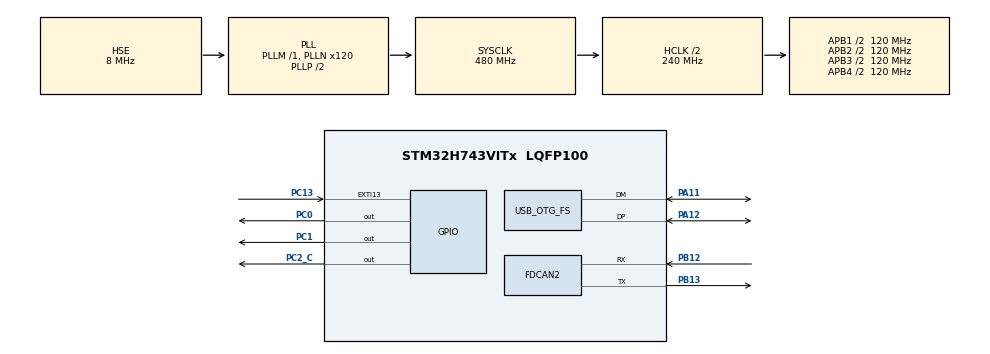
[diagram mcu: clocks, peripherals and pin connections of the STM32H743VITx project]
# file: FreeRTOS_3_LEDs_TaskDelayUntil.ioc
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FDCAN2.CalculateBaudRateNominal=800000
FDCAN2.CalculateTimeBitNominal=1250
FDCAN2.CalculateTimeQuantumNominal=250.0
Mcu.Family=STM32H7
Mcu.Name=STM32H743VITx
Mcu.Package=LQFP100
NVIC.EXTI15_10_IRQn=true\:5\:0\:true\:false\:true\:true\:true\:true
NVIC.FDCAN2_IT0_IRQn=true\:0\:0\:false\:false\:true\:true\:true\:true
NVIC.FDCAN2_IT1_IRQn=true\:0\:0\:false\:false\:true\:true\:true\:true
NVIC.PriorityGroup=NVIC_PRIORITYGROUP_4
NVIC.TIM6_DAC_IRQn=true\:15\:0\:false\:false\:true\:false\:true\:true
NVIC.TimeBase=TIM6_DAC_IRQn
NVIC.TimeBaseIP=TIM6
PA11.Mode=Host_Only
PA11.Signal=USB_OTG_FS_DM
PA12.Mode=Host_Only
PA12.Signal=USB_OTG_FS_DP
PA13\ (JTMS/SWDIO).Mode=Trace_Asynchronous_SW
PA13\ (JTMS/SWDIO).Signal=DEBUG_JTMS-SWDIO
PA14\ (JTCK/SWCLK).Mode=Trace_Asynchronous_SW
PA14\ (JTCK/SWCLK).Signal=DEBUG_JTCK-SWCLK
PB12.Mode=FDCAN_Activate
PB12.Signal=FDCAN2_RX
PB13.Mode=FDCAN_Activate
PB13.Signal=FDCAN2_TX
PB3\ (JTDO/TRACESWO).Mode=Trace_Asynchronous_SW
PB3\ (JTDO/TRACESWO).Signal=DEBUG_JTDO-SWO
PC0.Signal=GPIO_Output
PC1.Signal=GPIO_Output
PC13.GPIO_ModeDefaultEXTI=GPIO_MODE_IT_RISING
PC13.GPIO_PuPd=GPIO_NOPULL
PC13.Signal=GPXTI13
PC2_C.Signal=GPIO_Output
PH0-OSC_IN\ (PH0).Mode=HSE-External-Oscillator
PH0-OSC_IN\ (PH0).Signal=RCC_OSC_IN
PH1-OSC_OUT\ (PH1).Mode=HSE-External-Oscillator
PH1-OSC_OUT\ (PH1).Signal=RCC_OSC_OUT
ProjectManager.HeapSize=0x200
ProjectManager.StackSize=0x400
ProjectManager.TargetToolchain=STM32CubeIDE
RCC.ADCFreq_Value=16125000
RCC.APB1Freq_Value=120000000
RCC.APB2Freq_Value=120000000
RCC.APB3Freq_Value=120000000
RCC.APB4Freq_Value=120000000
RCC.CortexFreq_Value=480000000
RCC.D1PPRE=RCC_APB3_DIV2
RCC.D2PPRE1=RCC_APB1_DIV2
RCC.D2PPRE2=RCC_APB2_DIV2
RCC.D3PPRE=RCC_APB4_DIV2
RCC.DIVM1=1
RCC.DIVN1=120
RCC.DIVQ1=15
RCC.HCLKFreq_Value=240000000
RCC.HPRE=RCC_HCLK_DIV2
RCC.HSE_VALUE=8000000
RCC.PLL1_VCI_Range-AdvancedSettings=RCC_PLL1VCIRANGE_0
RCC.PLL2FRACN=0
RCC.PLL2_VCI_Range-AdvancedSettings=RCC_PLL2VCIRANGE_0
RCC.PLL2_VCO_SEL-AdvancedSettings=RCC_PLL2VCOMEDIUM
RCC.PLL3FRACN=0
RCC.PLL3_VCI_Range-AdvancedSettings=RCC_PLL3VCIRANGE_0
RCC.PLL3_VCO_SEL-AdvancedSettings=RCC_PLL3VCOMEDIUM
RCC.PLLFRACN=0
RCC.PLLSourceVirtual=RCC_PLLSOURCE_HSE
RCC.SYSCLKFreq_VALUE=480000000
RCC.SYSCLKSource=RCC_SYSCLKSOURCE_PLLCLK
RCC.USBFreq_Value=64000000
USB_OTG_FS.VirtualMode=Host_Only
USB_OTG_FS.phy_itface=HCD_PHY_EMBEDDED
VP_SYS_VS_tim6.Mode=TIM6
board=custom

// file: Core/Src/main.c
/* USER CODE BEGIN Header */
/**
  ******************************************************************************
  * @file           : main.c
  * @brief          : Main program body
  ******************************************************************************
  * @attention
  *
  * Copyright (c) 2021 STMicroelectronics.
  * All rights reserved.
  *
  * This software is licensed under terms that can be found in the LICENSE file
  * in the root directory of this software component.
  * If no LICENSE file comes with this software, it is provided AS-IS.
  *
  ******************************************************************************
  */
/* USER CODE END Header */
#include "main.h"

FDCAN_HandleTypeDef hfdcan2;

HCD_HandleTypeDef hhcd_USB_OTG_FS;

void SystemClock_Config(void);
static void MX_GPIO_Init(void);
static void MX_FDCAN2_Init(void);
static void MX_USB_OTG_FS_HCD_Init(void);
/* USER CODE BEGIN PFP */
extern void SEGGER_UART_init(U32 baud);
static void Task_GreenLED_Handler(void* parameters);
static void Task_RedLED_Handler(void* parameters);
static void Task_BlueLED_Handler(void* parameters);
/* USER CODE END PFP */

/* USER CODE BEGIN 0 */
char *user_data = "Hello world\r\n";
/* USER CODE END 0 */

int main(void)
{
  /* USER CODE BEGIN 1 */
	TaskHandle_t Task_GreenLED_Handle;
	TaskHandle_t Task_RedLED_Handle;
	TaskHandle_t Task_BlueLED_Handle;

	BaseType_t TaskStatus;

  /* USER CODE END 1 */

  /* MCU Configuration--------------------------------------------------------*/

  /* Reset of all peripherals, Initializes the Flash interface and the Systick. */
  HAL_Init();

  /* Configure the system clock */
  SystemClock_Config();

  /* Initialize all configured peripherals */
  MX_GPIO_Init();
  MX_FDCAN2_Init();
  MX_USB_OTG_FS_HCD_Init();
  /* USER CODE BEGIN 2 */
//	user_data = "Start of program\r\n";
//	HAL_UART_Transmit(&huart2,(uint8_t*)user_data,strlen(user_data), HAL_MAX_DELAY);

	// Enable CCYCCNT Counter
	DWT->CTRL |= (1 << 0);

	// Used for SEGGER UART
	SEGGER_UART_init(500000);

	//Starting SEGGER SYSVIEW
	  SEGGER_SYSVIEW_Conf();
	  //SEGGER_SYSVIEW_Start();

	  TaskStatus = xTaskCreate(Task_GreenLED_Handler, "GreenLED", 100, "Green LED TASK", 1, &Task_GreenLED_Handle);
	  configASSERT(TaskStatus == pdPASS);

	  TaskStatus = xTaskCreate(Task_RedLED_Handler, "RedLED", 100, "Red LED TASK", 1, &Task_RedLED_Handle);
	  configASSERT(TaskStatus == pdPASS);

	  TaskStatus = xTaskCreate(Task_BlueLED_Handler, "BlueLED", 100, "Blue LED TASK", 1, &Task_BlueLED_Handle);
	  configASSERT(TaskStatus == pdPASS);

	  // Start FreeRTOS scheduler
	  vTaskStartScheduler();

//		user_data = "Scheduler called \r\n";
//		HAL_UART_Transmit(&huart2,(uint8_t*)user_data,strlen(user_data), HAL_MAX_DELAY);

  /* USER CODE END 2 */

  /* Infinite loop */
  while (1)
  {

  }
}

void SystemClock_Config(void)
{
  RCC_OscInitTypeDef RCC_OscInitStruct = {0};
  RCC_ClkInitTypeDef RCC_ClkInitStruct = {0};

  /** Supply configuration update enable
  */
  HAL_PWREx_ConfigSupply(PWR_LDO_SUPPLY);

  /** Configure the main internal regulator output voltage
  */
  __HAL_PWR_VOLTAGESCALING_CONFIG(PWR_REGULATOR_VOLTAGE_SCALE1);

  while(!__HAL_PWR_GET_FLAG(PWR_FLAG_VOSRDY)) {}

  __HAL_RCC_SYSCFG_CLK_ENABLE();
  __HAL_PWR_VOLTAGESCALING_CONFIG(PWR_REGULATOR_VOLTAGE_SCALE0);

  while(!__HAL_PWR_GET_FLAG(PWR_FLAG_VOSRDY)) {}

  /** Initializes the RCC Oscillators according to the specified parameters
  * in the RCC_OscInitTypeDef structure.
  */
  RCC_OscInitStruct.OscillatorType = RCC_OSCILLATORTYPE_HSE;
  RCC_OscInitStruct.HSEState = RCC_HSE_ON;
  RCC_OscInitStruct.PLL.PLLState = RCC_PLL_ON;
  RCC_OscInitStruct.PLL.PLLSource = RCC_PLLSOURCE_HSE;
  RCC_OscInitStruct.PLL.PLLM = 1;
  RCC_OscInitStruct.PLL.PLLN = 120;
  RCC_OscInitStruct.PLL.PLLP = 2;
  RCC_OscInitStruct.PLL.PLLQ = 15;
  RCC_OscInitStruct.PLL.PLLR = 2;
  RCC_OscInitStruct.PLL.PLLRGE = RCC_PLL1VCIRANGE_3;
  RCC_OscInitStruct.PLL.PLLVCOSEL = RCC_PLL1VCOWIDE;
  RCC_OscInitStruct.PLL.PLLFRACN = 0;
  if (HAL_RCC_OscConfig(&RCC_OscInitStruct) != HAL_OK)
  {
    Error_Handler();
  }

  /** Initializes the CPU, AHB and APB buses clocks
  */
  RCC_ClkInitStruct.ClockType = RCC_CLOCKTYPE_HCLK|RCC_CLOCKTYPE_SYSCLK
                              |RCC_CLOCKTYPE_PCLK1|RCC_CLOCKTYPE_PCLK2
                              |RCC_CLOCKTYPE_D3PCLK1|RCC_CLOCKTYPE_D1PCLK1;
  RCC_ClkInitStruct.SYSCLKSource = RCC_SYSCLKSOURCE_PLLCLK;
  RCC_ClkInitStruct.SYSCLKDivider = RCC_SYSCLK_DIV1;
  RCC_ClkInitStruct.AHBCLKDivider = RCC_HCLK_DIV2;
  RCC_ClkInitStruct.APB3CLKDivider = RCC_APB3_DIV2;
  RCC_ClkInitStruct.APB1CLKDivider = RCC_APB1_DIV2;
  RCC_ClkInitStruct.APB2CLKDivider = RCC_APB2_DIV2;
  RCC_ClkInitStruct.APB4CLKDivider = RCC_APB4_DIV2;

  if (HAL_RCC_ClockConfig(&RCC_ClkInitStruct, FLASH_LATENCY_4) != HAL_OK)
  {
    Error_Handler();
  }
}

static void MX_FDCAN2_Init(void)
{

  hfdcan2.Instance = FDCAN2;
  hfdcan2.Init.FrameFormat = FDCAN_FRAME_CLASSIC;
  hfdcan2.Init.Mode = FDCAN_MODE_NORMAL;
  hfdcan2.Init.AutoRetransmission = DISABLE;
  hfdcan2.Init.TransmitPause = DISABLE;
  hfdcan2.Init.ProtocolException = DISABLE;
  hfdcan2.Init.NominalPrescaler = 16;
  hfdcan2.Init.NominalSyncJumpWidth = 1;
  hfdcan2.Init.NominalTimeSeg1 = 2;
  hfdcan2.Init.NominalTimeSeg2 = 2;
  hfdcan2.Init.DataPrescaler = 1;
  hfdcan2.Init.DataSyncJumpWidth = 1;
  hfdcan2.Init.DataTimeSeg1 = 1;
  hfdcan2.Init.DataTimeSeg2 = 1;
  hfdcan2.Init.MessageRAMOffset = 0;
  hfdcan2.Init.StdFiltersNbr = 0;
  hfdcan2.Init.ExtFiltersNbr = 0;
  hfdcan2.Init.RxFifo0ElmtsNbr = 0;
  hfdcan2.Init.RxFifo0ElmtSize = FDCAN_DATA_BYTES_8;
  hfdcan2.Init.RxFifo1ElmtsNbr = 0;
  hfdcan2.Init.RxFifo1ElmtSize = FDCAN_DATA_BYTES_8;
  hfdcan2.Init.RxBuffersNbr = 0;
  hfdcan2.Init.RxBufferSize = FDCAN_DATA_BYTES_8;
  hfdcan2.Init.TxEventsNbr = 0;
  hfdcan2.Init.TxBuffersNbr = 0;
  hfdcan2.Init.TxFifoQueueElmtsNbr = 0;
  hfdcan2.Init.TxFifoQueueMode = FDCAN_TX_FIFO_OPERATION;
  hfdcan2.Init.TxElmtSize = FDCAN_DATA_BYTES_8;
  if (HAL_FDCAN_Init(&hfdcan2) != HAL_OK)
  {
    Error_Handler();
  }

}

static void MX_USB_OTG_FS_HCD_Init(void)
{

  hhcd_USB_OTG_FS.Instance = USB_OTG_FS;
  hhcd_USB_OTG_FS.Init.Host_channels = 16;
  hhcd_USB_OTG_FS.Init.speed = HCD_SPEED_FULL;
  hhcd_USB_OTG_FS.Init.dma_enable = DISABLE;
  hhcd_USB_OTG_FS.Init.phy_itface = HCD_PHY_EMBEDDED;
  hhcd_USB_OTG_FS.Init.Sof_enable = DISABLE;
  if (HAL_HCD_Init(&hhcd_USB_OTG_FS) != HAL_OK)
  {
    Error_Handler();
  }

}

static void MX_GPIO_Init(void)
{
  GPIO_InitTypeDef GPIO_InitStruct = {0};

  /* GPIO Ports Clock Enable */
  __HAL_RCC_GPIOC_CLK_ENABLE();
  __HAL_RCC_GPIOH_CLK_ENABLE();
  __HAL_RCC_GPIOB_CLK_ENABLE();
  __HAL_RCC_GPIOA_CLK_ENABLE();

  /*Configure GPIO pin Output Level */
  HAL_GPIO_WritePin(GPIOC, GPIO_PIN_0|GPIO_PIN_1|GPIO_PIN_2, GPIO_PIN_RESET);

  /*Configure GPIO pin : PC13 */
  GPIO_InitStruct.Pin = GPIO_PIN_13;
  GPIO_InitStruct.Mode = GPIO_MODE_IT_RISING;
  GPIO_InitStruct.Pull = GPIO_NOPULL;
  HAL_GPIO_Init(GPIOC, &GPIO_InitStruct);

  /*Configure GPIO pins : PC0 PC1 PC2 */
  GPIO_InitStruct.Pin = GPIO_PIN_0|GPIO_PIN_1|GPIO_PIN_2;
  GPIO_InitStruct.Mode = GPIO_MODE_OUTPUT_PP;
  GPIO_InitStruct.Pull = GPIO_NOPULL;
  GPIO_InitStruct.Speed = GPIO_SPEED_FREQ_LOW;
  HAL_GPIO_Init(GPIOC, &GPIO_InitStruct);

  /* EXTI interrupt init*/
  HAL_NVIC_SetPriority(EXTI15_10_IRQn, 5, 0);
  HAL_NVIC_EnableIRQ(EXTI15_10_IRQn);

}

/* USER CODE BEGIN 4 */
static void Task_GreenLED_Handler(void* parameters)
{
	while(1)
	{
//		user_data = "Green -\r\n";
//		HAL_UART_Transmit(&huart2,(uint8_t*)user_data,strlen(user_data), HAL_MAX_DELAY);
//		printf("%s\n", (char*)parameters);

		SEGGER_SYSVIEW_PrintfTarget("Toggling Green LED");
		HAL_GPIO_TogglePin(GPIOC, LED_Green_PIN);

		// 1000 system tickes -> needs to be converted to ms
		vTaskDelay(1000);
		HAL_GPIO_TogglePin(GPIOC, LED_Green_PIN);
		vTaskDelay(1000);
		taskYIELD();
	}
}

static void Task_RedLED_Handler(void* parameters)
{
	while(1)
	{
//		user_data = "Red -\r\n";
//		HAL_UART_Transmit(&huart2,(uint8_t*)user_data,strlen(user_data), HAL_MAX_DELAY);
//		printf("%s\n", (char*)parameters);

		SEGGER_SYSVIEW_PrintfTarget("Toggling Red LED");
		HAL_GPIO_TogglePin(GPIOC, LED_Red_PIN);

		// 800 system tickes -> needs to be converted to ms
		vTaskDelay(800);
		HAL_GPIO_TogglePin(GPIOC, LED_Red_PIN);
		vTaskDelay(800);
		taskYIELD();
	}
}

static void Task_BlueLED_Handler(void* parameters)
{
	while(1)
	{
//		user_data = "Blue -\r\n";
//		HAL_UART_Transmit(&huart2,(uint8_t*)user_data,strlen(user_data), HAL_MAX_DELAY);
//		printf("%s\n", (char*)parameters);

		SEGGER_SYSVIEW_PrintfTarget("Toggling Blue LED");
		HAL_GPIO_TogglePin(GPIOC, LED_Blue_PIN);

		// 400 system tickes -> needs to be converted to ms
		vTaskDelay(400);
		HAL_GPIO_TogglePin(GPIOC, LED_Blue_PIN);
		vTaskDelay(400);
		taskYIELD();
	}
}

/* USER CODE END 4 */

void HAL_TIM_PeriodElapsedCallback(TIM_HandleTypeDef *htim)
{
  if (htim->Instance == TIM6) {
    HAL_IncTick();
  }
}

void Error_Handler(void)
{
  __disable_irq();
  while (1)
  {
  }
}
